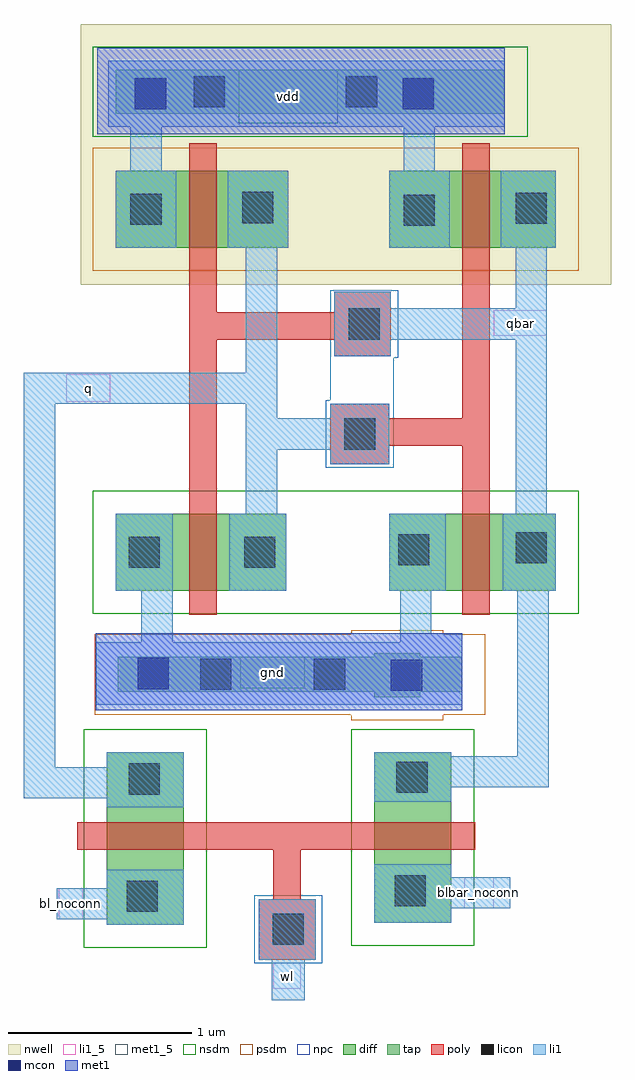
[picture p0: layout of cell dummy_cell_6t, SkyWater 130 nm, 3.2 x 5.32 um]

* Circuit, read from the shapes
.subckt dummy_cell_6t bl_noconn blbar_noconn gnd q qbar vdd wl
XM1 q wl bl_noconn gnd sky130_fd_pr__nfet_01v8 w=0.42 l=0.15
XM2 q qbar gnd gnd sky130_fd_pr__nfet_01v8 w=0.42 l=0.15
XM3 qbar wl blbar_noconn gnd sky130_fd_pr__nfet_01v8 w=0.42 l=0.15
XM4 qbar q gnd gnd sky130_fd_pr__nfet_01v8 w=0.42 l=0.15
XM5 q qbar vdd vdd sky130_fd_pr__pfet_01v8 w=0.42 l=0.15
XM6 qbar q vdd vdd sky130_fd_pr__pfet_01v8 w=0.42 l=0.15
.ends

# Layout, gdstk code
import gdstk
lib = gdstk.Library(unit=1e-6, precision=1e-09)
def R(c, l, rs):  # rectangles x0, y0, x1, y1
    for r in rs: c.add(gdstk.rectangle(r[:2], r[2:], *l))
nwell = (64, 20)
diff = (65, 20)
tap = (65, 44)
poly = (66, 20)
licon = (66, 44)
li1_5 = (67, 5)
li1 = (67, 20)
mcon = (67, 44)
met1_5 = (68, 5)
met1 = (68, 20)
nsdm = (93, 44)
psdm = (94, 20)
npc = (95, 20)

dummy_cell_6t = lib.new_cell('dummy_cell_6t')
R(dummy_cell_6t, nwell, [(-4.41,3.77,-1.52,5.19)])
R(dummy_cell_6t, diff, [(-4.27,0.28,-3.85,1.22), (-2.81,0.29,-2.39,1.22), (-4.22,2.1,-3.29,2.52), (-2.73,2.1,-1.82,2.52), (-4.22,3.97,-3.28,4.39), (-2.73,3.97,-1.82,4.39)])
R(dummy_cell_6t, tap, [(-2.81,1.52,-2.56,1.55), (-4.21,1.55,-2.33,1.74), (-2.81,1.74,-2.56,1.76), (-4.22,4.7,-2.1,4.94)])
R(dummy_cell_6t, poly, [(-3.44,0.09,-3.13,0.42), (-3.36,0.42,-3.21,0.69), (-4.43,0.69,-2.26,0.84), (-3.82,1.97,-3.67,3.47), (-2.33,1.97,-2.18,2.89), (-3.05,2.79,-2.73,2.89), (-3.05,2.89,-2.18,3.04), (-3.05,3.04,-2.73,3.12), (-2.33,3.04,-2.18,4.54), (-3.03,3.38,-2.72,3.47), (-3.82,3.47,-2.72,3.62), (-3.82,3.62,-3.67,4.54), (-3.03,3.62,-2.72,3.73)])
R(dummy_cell_6t, licon, [(-3.365,0.17,-3.195,0.34), (-4.16,0.35,-3.99,0.52), (-2.7,0.38,-2.53,0.55), (-4.15,0.99,-3.98,1.16), (-2.69,1,-2.52,1.17), (-3.76,1.56,-3.59,1.73), (-3.14,1.56,-2.97,1.73), (-4.15,2.225,-3.98,2.395), (-3.52,2.225,-3.35,2.395), (-2.68,2.24,-2.51,2.41), (-2.04,2.25,-1.87,2.42), (-2.975,2.87,-2.805,3.04), (-2.95,3.47,-2.78,3.64), (-2.65,4.09,-2.48,4.26), (-4.14,4.095,-3.97,4.265), (-2.04,4.1,-1.87,4.27), (-3.53,4.105,-3.36,4.275), (-3.795,4.735,-3.625,4.905), (-2.965,4.735,-2.795,4.905)])
R(dummy_cell_6t, li1_5, [(-3.36,-0.07,-3.21,0.07), (-4.53,0.31,-4.4,0.48), (-2.32,0.37,-2.16,0.54), (-4.49,3.13,-4.25,3.28), (-2.16,3.49,-1.87,3.63)])
R(dummy_cell_6t, li1, [(-3.37,-0.13,-3.19,0.09), (-3.44,0.09,-3.13,0.42), (-4.27,0.28,-3.85,0.31), (-2.81,0.29,-2.39,0.37), (-4.54,0.31,-3.85,0.48), (-2.81,0.37,-2.07,0.54), (-4.27,0.48,-3.85,0.58), (-2.81,0.54,-2.39,0.61), (-4.27,0.92,-3.85,0.97), (-2.81,0.95,-2.39,1.03), (-4.72,0.97,-3.85,1.14), (-2.81,1.03,-1.86,1.2), (-4.72,1.14,-4.55,3.12), (-4.27,1.14,-3.85,1.22), (-2.81,1.2,-2.39,1.22), (-2.03,1.2,-1.86,2.1), (-4.33,1.48,-2.33,1.82), (-4.08,1.82,-3.91,2.1), (-2.67,1.82,-2.33,1.87), (-2.67,1.87,-2.5,2.1), (-4.22,2.1,-3.91,2.52), (-3.6,2.1,-3.29,2.52), (-2.73,2.1,-2.42,2.52), (-2.11,2.1,-1.82,2.52), (-3.51,2.52,-3.34,2.87), (-2.04,2.52,-1.87,3.47), (-3.05,2.79,-2.73,2.87), (-3.51,2.87,-2.73,3.04), (-3.51,3.04,-3.34,3.12), (-3.05,3.04,-2.73,3.12), (-4.72,3.12,-3.34,3.29), (-3.51,3.29,-3.34,3.97), (-3.03,3.38,-2.72,3.47), (-3.03,3.47,-1.87,3.64), (-3.03,3.64,-2.72,3.73), (-2.04,3.64,-1.87,3.97), (-4.22,3.97,-3.89,4.39), (-3.61,3.97,-3.28,4.39), (-2.73,3.97,-2.4,4.39), (-2.12,3.97,-1.82,4.39), (-4.14,4.39,-3.97,4.63), (-2.65,4.39,-2.48,4.63), (-4.26,4.63,-2.1,4.99)])
R(dummy_cell_6t, mcon, [(-2.72,1.555,-2.55,1.725), (-4.1,1.565,-3.93,1.735), (-4.115,4.725,-3.945,4.895), (-2.655,4.725,-2.485,4.895)])
R(dummy_cell_6t, met1_5, [(-3.54,1.57,-3.19,1.74), (-3.55,4.65,-3.01,4.94)])
R(dummy_cell_6t, met1, [(-4.33,1.45,-2.33,1.87), (-4.32,4.59,-2.1,5.06)])
R(dummy_cell_6t, nsdm, [(-4.395,0.155,-3.725,1.345), (-2.935,0.165,-2.265,1.345), (-4.345,1.975,-1.695,2.645), (-4.345,4.575,-1.975,5.065)])
R(dummy_cell_6t, psdm, [(-2.935,1.395,-2.435,1.425), (-4.335,1.425,-2.205,1.865), (-2.935,1.865,-2.435,1.885), (-4.345,3.845,-1.695,4.515)])
R(dummy_cell_6t, npc, [(-3.465,0.07,-3.095,0.44), (-3.075,2.77,-2.705,3.14), (-3.05,3.14,-2.705,3.37), (-3.05,3.37,-2.68,3.74)])
dummy_cell_6t.add(gdstk.Label('vdd', (-3.28,4.795), layer=68, texttype=5))
dummy_cell_6t.add(gdstk.Label('qbar', (-2.015,3.56), layer=67, texttype=5))
dummy_cell_6t.add(gdstk.Label('q', (-4.37,3.205), layer=67, texttype=5))
dummy_cell_6t.add(gdstk.Label('gnd', (-3.365,1.655), layer=68, texttype=5))
dummy_cell_6t.add(gdstk.Label('wl', (-3.285,0), layer=67, texttype=5))
dummy_cell_6t.add(gdstk.Label('blbar_noconn', (-2.24,0.455), layer=67, texttype=5))
dummy_cell_6t.add(gdstk.Label('bl_noconn', (-4.465,0.395), layer=67, texttype=5))

lib.write_gds('dummy_cell_6t.gds')
